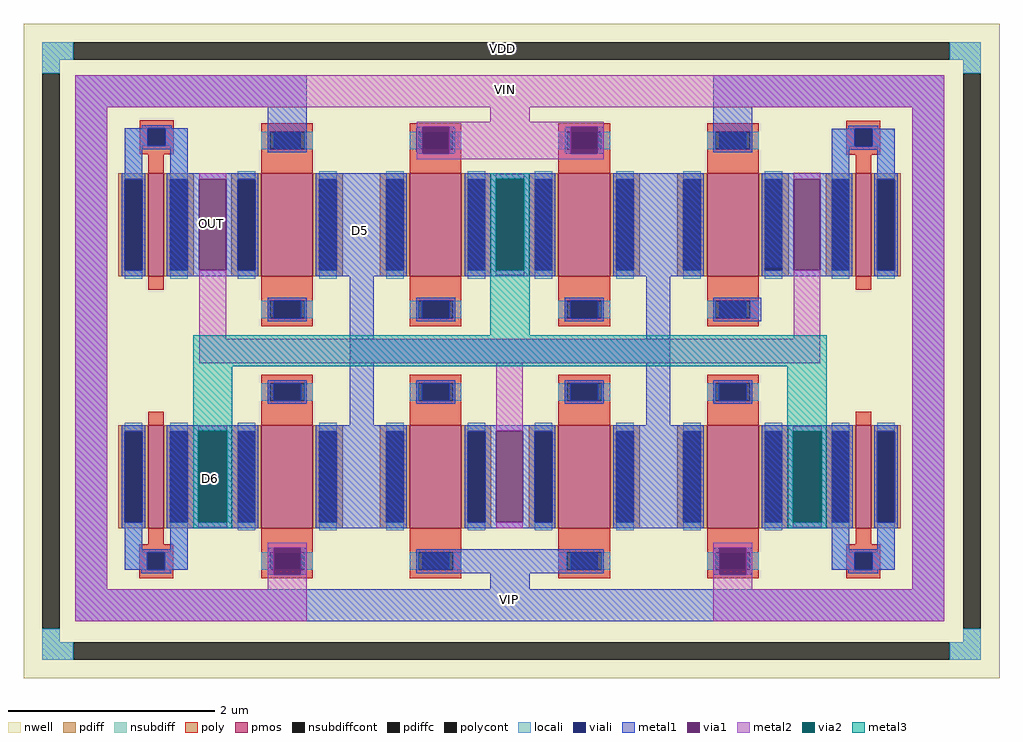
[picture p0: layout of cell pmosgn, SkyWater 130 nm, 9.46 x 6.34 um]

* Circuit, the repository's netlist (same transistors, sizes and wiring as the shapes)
** sch_path: /home/azrielshelomita/opamp/mag/pmosgn.sch
.subckt pmosgn VIN VIP OUT VDD D5 D6
*.PININFO VIN:I VIP:I OUT:O VDD:B D5:B D6:B
XM6 D6 VIN D5 VDD sky130_fd_pr__pfet_01v8 L=0.5 W=1 nf=1 m=4
XM7 OUT VIP D5 VDD sky130_fd_pr__pfet_01v8 L=0.5 W=1 nf=1 m=4
XM1 D6 D6 D6 VDD sky130_fd_pr__pfet_01v8 L=0.15 W=1 nf=1 m=2
XM2 OUT OUT OUT VDD sky130_fd_pr__pfet_01v8 L=0.15 W=1 nf=1 m=2
.ends
.end

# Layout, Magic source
magic
tech sky130A
magscale 1 2
<< nwell >>
rect -24 -1129 1868 140
<< nsubdiff >>
rect 12 70 72 104
rect 1772 70 1832 104
rect 12 44 46 70
rect 1798 44 1832 70
rect 12 -1059 46 -1033
rect 1798 -1059 1832 -1033
rect 12 -1093 72 -1059
rect 1772 -1093 1832 -1059
<< nsubdiffcont >>
rect 72 70 1772 104
rect 12 -1033 46 44
rect 1798 -1033 1832 44
rect 72 -1093 1772 -1059
<< poly >>
rect 201 -63 267 -47
rect 201 -97 217 -63
rect 251 -97 267 -63
rect 201 -113 267 -97
rect 1571 -64 1637 -48
rect 1571 -98 1587 -64
rect 1621 -98 1637 -64
rect 218 -136 248 -113
rect 1571 -114 1637 -98
rect 1589 -130 1619 -114
rect 218 -869 248 -854
rect 1589 -869 1619 -845
rect 200 -885 266 -869
rect 200 -919 216 -885
rect 250 -919 266 -885
rect 200 -935 266 -919
rect 1571 -885 1637 -869
rect 1571 -919 1587 -885
rect 1621 -919 1637 -885
rect 1571 -935 1637 -919
<< polycont >>
rect 217 -97 251 -63
rect 1587 -98 1621 -64
rect 216 -919 250 -885
rect 1587 -919 1621 -885
<< locali >>
rect 12 70 72 104
rect 1772 70 1832 104
rect 12 44 46 70
rect 1798 44 1832 70
rect 172 -97 217 -63
rect 251 -97 294 -63
rect 172 -149 206 -97
rect 260 -149 294 -97
rect 1543 -98 1587 -64
rect 1621 -98 1665 -64
rect 1543 -149 1577 -98
rect 1631 -149 1665 -98
rect 172 -885 206 -839
rect 260 -885 294 -839
rect 172 -919 216 -885
rect 250 -919 294 -885
rect 1543 -885 1577 -832
rect 1631 -885 1665 -832
rect 1543 -919 1587 -885
rect 1621 -919 1665 -885
rect 12 -1059 46 -1033
rect 1798 -1059 1832 -1033
rect 12 -1093 72 -1059
rect 1772 -1093 1832 -1059
<< viali >>
rect 217 -97 251 -63
rect 1587 -98 1621 -64
rect 216 -919 250 -885
rect 1587 -919 1621 -885
<< metal1 >>
rect 76 -22 525 40
rect 76 -956 138 -22
rect 205 -63 263 -57
rect 172 -97 217 -63
rect 251 -97 294 -63
rect 172 -103 294 -97
rect 172 -157 206 -103
rect 260 -150 294 -103
rect 449 -109 525 -22
rect 1313 -22 1761 40
rect 739 -112 749 -60
rect 801 -112 811 -60
rect 1027 -112 1037 -60
rect 1089 -112 1099 -60
rect 1313 -109 1389 -22
rect 1575 -64 1633 -58
rect 1543 -98 1587 -64
rect 1621 -98 1665 -64
rect 1543 -104 1665 -98
rect 1543 -150 1577 -104
rect 254 -162 385 -150
rect 254 -338 317 -162
rect 369 -338 385 -162
rect 254 -350 385 -338
rect 543 -350 719 -150
rect 831 -162 1007 -150
rect 831 -338 893 -162
rect 945 -338 1007 -162
rect 831 -350 1007 -338
rect 1119 -350 1295 -150
rect 1407 -162 1583 -150
rect 1631 -152 1665 -104
rect 1407 -332 1469 -162
rect 1452 -338 1469 -332
rect 1521 -338 1583 -162
rect 1452 -350 1583 -338
rect 608 -471 655 -350
rect 1183 -471 1230 -350
rect 1313 -437 1406 -391
rect 608 -518 1230 -471
rect 608 -638 655 -518
rect 1183 -638 1230 -518
rect 254 -650 430 -638
rect 254 -826 317 -650
rect 369 -826 430 -650
rect 172 -879 206 -832
rect 254 -838 430 -826
rect 543 -838 719 -638
rect 877 -649 961 -638
rect 877 -826 892 -649
rect 944 -826 961 -649
rect 877 -838 961 -826
rect 1119 -838 1295 -638
rect 1408 -650 1584 -638
rect 1408 -826 1469 -650
rect 1521 -826 1584 -650
rect 1408 -838 1584 -826
rect 260 -879 294 -838
rect 172 -885 294 -879
rect 172 -919 216 -885
rect 250 -919 294 -885
rect 204 -925 262 -919
rect 451 -928 461 -876
rect 513 -928 523 -876
rect 737 -925 1101 -879
rect 881 -956 957 -925
rect 1315 -928 1325 -876
rect 1377 -928 1387 -876
rect 1543 -879 1577 -838
rect 1631 -879 1665 -832
rect 1543 -885 1665 -879
rect 1543 -919 1587 -885
rect 1621 -919 1665 -885
rect 1575 -925 1633 -919
rect 1699 -956 1761 -22
rect 76 -1018 1761 -956
<< via1 >>
rect 749 -112 801 -60
rect 1037 -112 1089 -60
rect 317 -338 369 -162
rect 893 -338 945 -162
rect 1469 -338 1521 -162
rect 317 -826 369 -650
rect 892 -826 944 -649
rect 1469 -826 1521 -650
rect 461 -928 513 -876
rect 1325 -928 1377 -876
<< metal2 >>
rect 76 -22 1761 40
rect 76 -956 138 -22
rect 881 -50 957 -22
rect 738 -60 1101 -50
rect 738 -112 749 -60
rect 801 -112 1037 -60
rect 1089 -112 1101 -60
rect 738 -123 1101 -112
rect 317 -162 369 -150
rect 317 -471 369 -338
rect 891 -161 947 -151
rect 891 -348 947 -338
rect 1469 -162 1521 -149
rect 1469 -471 1521 -338
rect 317 -518 1521 -471
rect 315 -649 371 -639
rect 315 -836 371 -826
rect 892 -649 944 -518
rect 892 -838 944 -826
rect 1467 -650 1523 -640
rect 1467 -836 1523 -826
rect 449 -876 525 -866
rect 449 -928 461 -876
rect 513 -928 525 -876
rect 449 -956 525 -928
rect 76 -1018 525 -956
rect 1313 -876 1389 -866
rect 1313 -928 1325 -876
rect 1377 -928 1389 -876
rect 1313 -956 1389 -928
rect 1699 -956 1761 -22
rect 1313 -1018 1761 -956
<< via2 >>
rect 891 -162 947 -161
rect 891 -338 893 -162
rect 893 -338 945 -162
rect 945 -338 947 -162
rect 315 -650 371 -649
rect 315 -826 317 -650
rect 317 -826 369 -650
rect 369 -826 371 -650
rect 1467 -826 1469 -650
rect 1469 -826 1521 -650
rect 1521 -826 1523 -650
<< metal3 >>
rect 881 -161 957 -150
rect 881 -338 891 -161
rect 947 -338 957 -161
rect 881 -464 957 -338
rect 305 -524 1533 -464
rect 305 -649 381 -524
rect 305 -826 315 -649
rect 371 -826 381 -649
rect 305 -838 381 -826
rect 1457 -650 1533 -524
rect 1457 -826 1467 -650
rect 1523 -826 1533 -650
rect 1457 -838 1533 -826
use sky130_fd_pr__pfet_01v8_2XUZHN  sky130_fd_pr__pfet_01v8_2XUZHN_0
transform 1 0 233 0 1 -738
box -109 -162 109 162
use sky130_fd_pr__pfet_01v8_2XUZHN  sky130_fd_pr__pfet_01v8_2XUZHN_1
transform 1 0 233 0 1 -250
box -109 -162 109 162
use sky130_fd_pr__pfet_01v8_2XUZHN  sky130_fd_pr__pfet_01v8_2XUZHN_2
transform 1 0 1604 0 1 -250
box -109 -162 109 162
use sky130_fd_pr__pfet_01v8_2XUZHN  sky130_fd_pr__pfet_01v8_2XUZHN_3
transform 1 0 1604 0 1 -738
box -109 -162 109 162
use sky130_fd_pr__pfet_01v8_VGK97L  sky130_fd_pr__pfet_01v8_VGK97L_0
transform 1 0 775 0 1 -250
box -144 -200 144 200
use sky130_fd_pr__pfet_01v8_VGK97L  sky130_fd_pr__pfet_01v8_VGK97L_1
transform 1 0 1351 0 1 -738
box -144 -200 144 200
use sky130_fd_pr__pfet_01v8_VGK97L  sky130_fd_pr__pfet_01v8_VGK97L_2
transform 1 0 1063 0 1 -250
box -144 -200 144 200
use sky130_fd_pr__pfet_01v8_VGK97L  sky130_fd_pr__pfet_01v8_VGK97L_3
transform 1 0 1351 0 1 -250
box -144 -200 144 200
use sky130_fd_pr__pfet_01v8_VGK97L  sky130_fd_pr__pfet_01v8_VGK97L_4
transform 1 0 487 0 1 -250
box -144 -200 144 200
use sky130_fd_pr__pfet_01v8_VGK97L  sky130_fd_pr__pfet_01v8_VGK97L_5
transform 1 0 487 0 1 -738
box -144 -200 144 200
use sky130_fd_pr__pfet_01v8_VGK97L  sky130_fd_pr__pfet_01v8_VGK97L_6
transform 1 0 775 0 1 -738
box -144 -200 144 200
use sky130_fd_pr__pfet_01v8_VGK97L  sky130_fd_pr__pfet_01v8_VGK97L_7
transform 1 0 1063 0 1 -738
box -144 -200 144 200
<< labels >>
flabel via2 338 -742 338 -742 0 FreeSans 480 0 0 0 D6
port 0 nsew
flabel via1 341 -248 341 -248 0 FreeSans 480 0 0 0 OUT
port 1 nsew
flabel metal2 910 12 910 12 0 FreeSans 480 0 0 0 VIN
port 2 nsew
flabel metal1 918 -976 918 -976 0 FreeSans 480 0 0 0 VIP
port 3 nsew
flabel nsubdiffcont 905 91 905 91 0 FreeSans 480 0 0 0 VDD
port 4 nsew
flabel metal1 630 -260 630 -260 0 FreeSans 480 0 0 0 D5
port 5 nsew
<< end >>

# cell sky130_fd_pr__pfet_01v8_2XUZHN: kit device sky130_fd_pr__pfet_01v8, w 1 l 0.15 m 1 nf 1 diffcov 100 polycov 100 guard 0 glc 1 grc 1 gtc 1 gbc 1 tbcov 100 rlcov 100 topc 0 botc 0 poverlap 0 doverlap 1 lmin 0.15 wmin 0.42 compatible {sky130_fd_pr__pfet_01v8 sky130_fd_pr__pfet_01v8_lvt sky130_fd_pr__pfet_01v8_hvt sky130_fd_pr__pfet_g5v0d10v5} full_metal 1 viasrc 100 viadrn 100 viagate 100 viagb 0 viagr 0 viagl 0 viagt 0

# cell sky130_fd_pr__pfet_01v8_VGK97L: kit device sky130_fd_pr__pfet_01v8, w 1 l 0.5 m 1 nf 1 diffcov 100 polycov 100 guard 0 glc 1 grc 1 gtc 1 gbc 1 tbcov 100 rlcov 100 topc 1 botc 1 poverlap 0 doverlap 1 lmin 0.15 wmin 0.42 compatible {sky130_fd_pr__pfet_01v8 sky130_fd_pr__pfet_01v8_lvt sky130_fd_pr__pfet_01v8_hvt sky130_fd_pr__pfet_g5v0d10v5} full_metal 1 viasrc 100 viadrn 100 viagate 75 viagb 0 viagr 0 viagl 0 viagt 0
